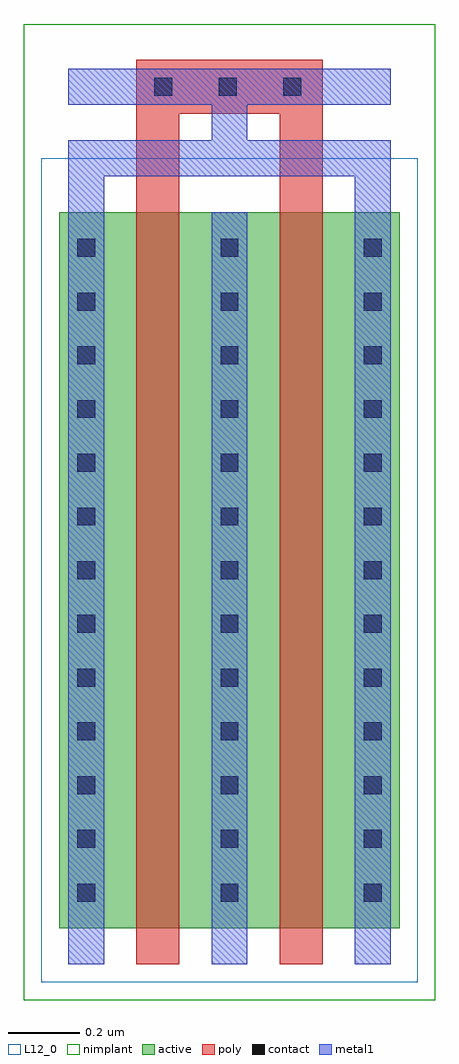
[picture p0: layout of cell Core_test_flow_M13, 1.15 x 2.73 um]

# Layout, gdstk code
import gdstk
lib = gdstk.Library(unit=1e-6, precision=1e-09)
def R(c, l, rs):  # rectangles x0, y0, x1, y1
    for r in rs: c.add(gdstk.rectangle(r[:2], r[2:], *l))
def A(c, l, x, y, w, h, nx, ny, dx, dy):  # array of equal rectangles
    R(c, l, [(x+i*dx, y+j*dy, x+i*dx+w, y+j*dy+h) for i in range(nx) for j in range(ny)])
active = (6, 0)
L12_0 = (12, 0)
poly = (17, 0)
nimplant = (26, 0)
contact = (30, 0)
metal1 = (31, 0)

core_test_flow_m13 = lib.new_cell('Core_test_flow_M13')
R(core_test_flow_m13, active, [(-0.075,0.05,0.875,2.05)])
R(core_test_flow_m13, L12_0, [(-0.125,-0.1,0.925,2.2)])
R(core_test_flow_m13, poly, [(0.14,-0.05,0.26,2.15), (0.54,-0.05,0.66,2.15), (0.14,2.05,0.26,2.35), (0.54,2.05,0.66,2.35), (0.14,2.325,0.66,2.475)])
R(core_test_flow_m13, nimplant, [(-0.175,-0.15,0.975,2.575)])
A(core_test_flow_m13, contact, -0.025, 0.125, 0.05, 0.05, 3, 13, 0.4, 0.15)
A(core_test_flow_m13, contact, 0.19, 2.375, 0.05, 0.05, 3, 1, 0.18, 0)
A(core_test_flow_m13, metal1, -0.05, -0.05, 0.1, 2.1, 3, 1, 0.4, 0)
A(core_test_flow_m13, metal1, -0.05, 0.05, 0.1, 2, 3, 1, 0.4, 0)
R(core_test_flow_m13, metal1, [(-0.05,2.05,0.05,2.15), (0.75,2.05,0.85,2.15), (-0.05,2.15,0.85,2.25), (0.35,2.15,0.45,2.45), (-0.05,2.35,0.85,2.45), (0.14,2.35,0.66,2.45)])

lib.write_gds('Core_test_flow_M13.gds')
